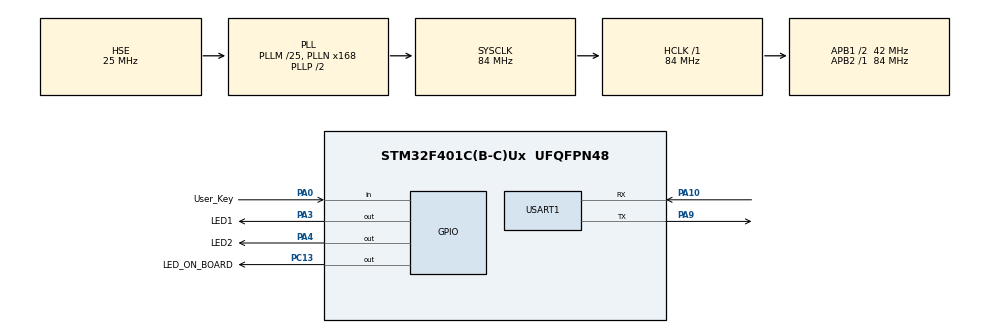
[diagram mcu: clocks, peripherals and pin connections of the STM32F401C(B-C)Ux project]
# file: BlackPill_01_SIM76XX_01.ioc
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Mcu.Family=STM32F4
Mcu.Name=STM32F401C(B-C)Ux
Mcu.Package=UFQFPN48
NVIC.PriorityGroup=NVIC_PRIORITYGROUP_4
NVIC.TIM3_IRQn=true\:0\:0\:false\:false\:true\:true\:true\:true
PA0-WKUP.GPIO_Label=User_Key
PA0-WKUP.GPIO_PuPd=GPIO_PULLUP
PA0-WKUP.Signal=GPIO_Input
PA10.Mode=Asynchronous
PA10.Signal=USART1_RX
PA13.Mode=Serial_Wire
PA13.Signal=SYS_JTMS-SWDIO
PA14.Mode=Serial_Wire
PA14.Signal=SYS_JTCK-SWCLK
PA3.GPIO_Label=LED1
PA3.Signal=GPIO_Output
PA4.GPIO_Label=LED2
PA4.Signal=GPIO_Output
PA9.Mode=Asynchronous
PA9.Signal=USART1_TX
PC13-ANTI_TAMP.GPIO_Label=LED_ON_BOARD
PC13-ANTI_TAMP.Signal=GPIO_Output
PC14-OSC32_IN.Mode=LSE-External-Oscillator
PC14-OSC32_IN.Signal=RCC_OSC32_IN
PC15-OSC32_OUT.Mode=LSE-External-Oscillator
PC15-OSC32_OUT.Signal=RCC_OSC32_OUT
PH0\ -\ OSC_IN.Mode=HSE-External-Oscillator
PH0\ -\ OSC_IN.Signal=RCC_OSC_IN
PH1\ -\ OSC_OUT.Mode=HSE-External-Oscillator
PH1\ -\ OSC_OUT.Signal=RCC_OSC_OUT
ProjectManager.HeapSize=0x200
ProjectManager.StackSize=0x400
ProjectManager.TargetToolchain=STM32CubeIDE
RCC.48MHZClocksFreq_Value=42000000
RCC.AHBFreq_Value=84000000
RCC.APB1CLKDivider=RCC_HCLK_DIV2
RCC.APB1Freq_Value=42000000
RCC.APB1TimFreq_Value=84000000
RCC.APB2Freq_Value=84000000
RCC.APB2TimFreq_Value=84000000
RCC.CortexFreq_Value=84000000
RCC.HCLKFreq_Value=84000000
RCC.HSE_VALUE=25000000
RCC.HSI_VALUE=16000000
RCC.PLLM=25
RCC.PLLN=168
RCC.PLLSourceVirtual=RCC_PLLSOURCE_HSE
RCC.SYSCLKFreq_VALUE=84000000
RCC.SYSCLKSource=RCC_SYSCLKSOURCE_PLLCLK
RCC.VCOOutputFreq_Value=168000000
TIM3.Period=5000
TIM3.Prescaler=8400
USART1.VirtualMode=VM_ASYNC
VP_TIM3_VS_ClockSourceINT.Mode=Internal
board=custom

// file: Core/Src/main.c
/* USER CODE BEGIN Header */
/**
  ******************************************************************************
  * @file           : main.c
  * @brief          : Main program body
  ******************************************************************************
  * @attention
  *
  * Copyright (c) 2025 STMicroelectronics.
  * All rights reserved.
  *
  * This software is licensed under terms that can be found in the LICENSE file
  * in the root directory of this software component.
  * If no LICENSE file comes with this software, it is provided AS-IS.
  *
  ******************************************************************************
  */
/* USER CODE END Header */
#include "main.h"
#include "tim.h"
#include "usart.h"
#include "gpio.h"

/* USER CODE BEGIN Includes */
#include <string.h>
#include <stdio.h>
#include <stdbool.h>
#include <mqtt_functions.h>
#include <debounce.h>

/* USER CODE END Includes */

/* USER CODE BEGIN PD */
////////////////////////////////////#define MAX_AT_CMD_LEN 128
/* USER CODE END PD */

/* USER CODE BEGIN PV */

uint8_t step = 0;
uint16_t count = 0;
uint32_t publishInterval = 10000; // 10 segundos
// -----------------------------
// Variables y configuración
// -----------------------------

char topic[] = "test/topicXXX";
char payload[] = "Hola desde STM32 + SIMCOM!";

//const char* MQTT_HOST = "test.mosquitto.org";
//uint16_t MQTT_PORT = 1883;
//char buffer[128];                  // buffer de recepción

/* USER CODE END PV */

void SystemClock_Config(void);

/* USER CODE BEGIN 0 */

void HAL_TIM_PeriodElapsedCallback(TIM_HandleTypeDef *htim)
{
  if (htim->Instance == TIM3) // confirmamos que viene de TIM3
  {
    HAL_GPIO_TogglePin(LED_ON_BOARD_GPIO_Port, LED_ON_BOARD_Pin); // ejemplo:
  }
}

void Timer3_SetPeriod_ms(uint32_t ms)
{
    uint32_t arr = (ms * 10) - 1; // porque 1 tick = 0.1ms
    __HAL_TIM_SET_AUTORELOAD(&htim3, arr);
}
/* USER CODE END 0 */

int main(void)
{

  /* MCU Configuration--------------------------------------------------------*/

  /* Reset of all peripherals, Initializes the Flash interface and the Systick. */
  HAL_Init();

  /* Configure the system clock */
  SystemClock_Config();

  /* Initialize all configured peripherals */
  MX_GPIO_Init();
  MX_USART1_UART_Init();
  MX_TIM3_Init();
  /* USER CODE BEGIN 2 */
  HAL_TIM_Base_Start_IT(&htim3);// arranca timer en modo interrupción

  uint32_t lastPublish = HAL_GetTick();
  int retryCount;
  const int maxRetries = 3;

  Timer3_SetPeriod_ms(500);

//  while(1) {
//      if(HAL_GPIO_ReadPin(GPIOA, GPIO_PIN_0) == GPIO_PIN_RESET) { // botón presionado
//          HAL_GPIO_WritePin(GPIOA, GPIO_PIN_3, GPIO_PIN_SET);     // LED encendido
//      } else {
//          HAL_GPIO_WritePin(GPIOA, GPIO_PIN_3, GPIO_PIN_RESET);   // LED apagado
//      }
//  }

//  while (1) {
//      if (Pulsador_Presionado()) {
//          HAL_GPIO_TogglePin(GPIOA, GPIO_PIN_3); // cada pulsación cambia el estado del LED
//      }
//  }

//  // -----------------------------
//  // Esperar red celular
//  // -----------------------------
//  retryCount = 0;
//  while (!SIM_WaitForNetwork(60000)) {
//      retryCount++;
//      step = 50; // debug
//      if (retryCount >= maxRetries) {
//          MQTT_Reset();  // soft reset del módulo
//          retryCount = 0;
//      }
//  }
//
//  // -----------------------------
//  // Inicializar MQTT
//  // -----------------------------
//  retryCount = 0;
//  while (!MQTT_Init()) {
//      retryCount++;
//      step = 51;
//      if (retryCount >= maxRetries) {
//          MQTT_Reset();
//          retryCount = 0;
//      }
//  }
//
//
//  // -----------------------------
//  // Conectar al broker
//  // -----------------------------
//  retryCount = 0;
//  while (!MQTT_ConnectToBroker()) {
//      retryCount++;
//      step = 52;
//      if (retryCount >= maxRetries) {
//          MQTT_Reset();
//          // volver a inicializar MQTT
//          if (!MQTT_Init()) {
//              step = 51;
//          }
//          retryCount = 0;
//      }
//  }

  /* USER CODE END 2 */

  /* Infinite loop */
  /* USER CODE BEGIN WHILE */

  while (1) {
      // 1) Esperar red y SIM lista
      if (!SIM_WaitForNetwork(60000)) {
          step = 50;
          MQTT_Reset();
          HAL_Delay(1000);
          continue; // vuelve a intentar desde el inicio
      }

      // 2) Inicializar MQTT
      if (!MQTT_Init()) {
          step = 51;
          MQTT_Reset();
          HAL_Delay(1000);
          continue; // vuelve a intentar desde el inicio
      }

      // 3) Conectar al broker
      if (!MQTT_ConnectToBroker()) {
          step = 52;
          MQTT_Reset();
          HAL_Delay(1000);
          continue; // vuelve a intentar desde el inicio
      }

      // 4) Loop de publicación periódica
      lastPublish = HAL_GetTick();
      retryCount = 0;

      while (1) {
          uint32_t now = HAL_GetTick();

          // Revisar si la SIM sigue conectada
          if (!SIM_WaitForNetwork(1000)) {
              step = 50;
              MQTT_Reset();
              break; // sale del loop interno para reiniciar todo
          }

          if ((now - lastPublish) >= publishInterval) {
              if (!MQTT_Publish(topic, payload)) {
                  step = 53;
                  retryCount++;
                  if (retryCount >= maxRetries) {
                      MQTT_Reset();
                      retryCount = 0;
                      break; // sale del loop interno para reiniciar todo
                  }
              } else {
                  count++;
                  step = 0;
                  retryCount = 0;
              }
              lastPublish = now;
          }

          HAL_Delay(100);
      }
  }

  // nunca se alcanza, pero por buenas prácticas
  MQTT_Disconnect();

    /* USER CODE END WHILE */

}

void SystemClock_Config(void)
{
  RCC_OscInitTypeDef RCC_OscInitStruct = {0};
  RCC_ClkInitTypeDef RCC_ClkInitStruct = {0};

  /** Configure the main internal regulator output voltage
  */
  __HAL_RCC_PWR_CLK_ENABLE();
  __HAL_PWR_VOLTAGESCALING_CONFIG(PWR_REGULATOR_VOLTAGE_SCALE2);

  /** Initializes the RCC Oscillators according to the specified parameters
  * in the RCC_OscInitTypeDef structure.
  */
  RCC_OscInitStruct.OscillatorType = RCC_OSCILLATORTYPE_HSE;
  RCC_OscInitStruct.HSEState = RCC_HSE_ON;
  RCC_OscInitStruct.PLL.PLLState = RCC_PLL_ON;
  RCC_OscInitStruct.PLL.PLLSource = RCC_PLLSOURCE_HSE;
  RCC_OscInitStruct.PLL.PLLM = 25;
  RCC_OscInitStruct.PLL.PLLN = 168;
  RCC_OscInitStruct.PLL.PLLP = RCC_PLLP_DIV2;
  RCC_OscInitStruct.PLL.PLLQ = 4;
  if (HAL_RCC_OscConfig(&RCC_OscInitStruct) != HAL_OK)
  {
    Error_Handler();
  }

  /** Initializes the CPU, AHB and APB buses clocks
  */
  RCC_ClkInitStruct.ClockType = RCC_CLOCKTYPE_HCLK|RCC_CLOCKTYPE_SYSCLK
                              |RCC_CLOCKTYPE_PCLK1|RCC_CLOCKTYPE_PCLK2;
  RCC_ClkInitStruct.SYSCLKSource = RCC_SYSCLKSOURCE_PLLCLK;
  RCC_ClkInitStruct.AHBCLKDivider = RCC_SYSCLK_DIV1;
  RCC_ClkInitStruct.APB1CLKDivider = RCC_HCLK_DIV2;
  RCC_ClkInitStruct.APB2CLKDivider = RCC_HCLK_DIV1;

  if (HAL_RCC_ClockConfig(&RCC_ClkInitStruct, FLASH_LATENCY_2) != HAL_OK)
  {
    Error_Handler();
  }
}

void Error_Handler(void)
{
  __disable_irq();
  while (1)
  {
  }
}
